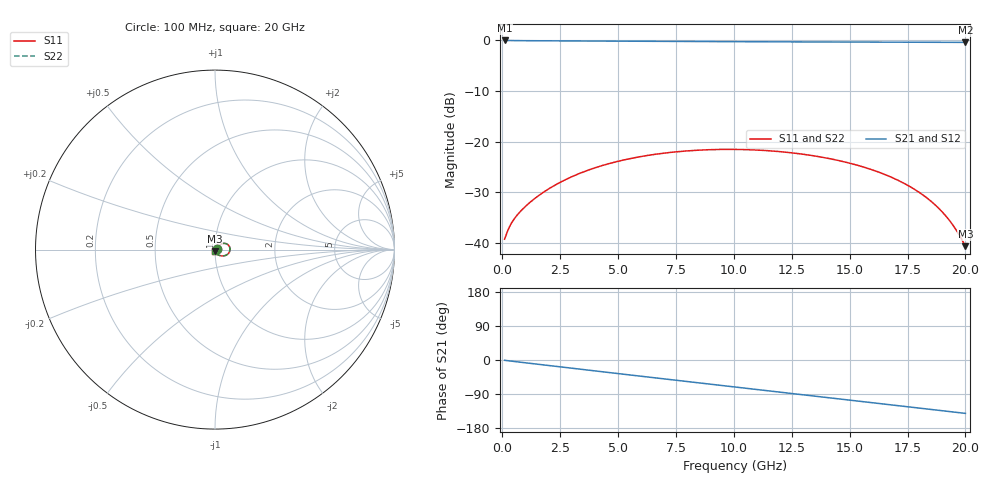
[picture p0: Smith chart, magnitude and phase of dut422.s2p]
! Touchstone file exported from HFSS 2026.1.0
!  File:  C:/ffzhzh/LocalFiles/Ansys_Project_Files/temp_train_TSV_RDL_422_1783096021_46604.aedt
!  Generated:  12:34:44 AM Jul  4, 2026
!  Design:  TSV_RDL
!  Project:  temp_train_TSV_RDL_422_1783096021_46604
! Variables:
!  h_bsmrdl = 4.43um
!  h_ox = 20um
!  h_rdl = 5um
!  h_sub = 53.33um
!  h_tmrdl = 2.78um
!  h_tsv = 53.33um
!  h_via = 3um
!  l_bsmrdl = 233.2um
!  l_sub = 2498.52um
!  l_tmrdl = 312.47um
!  m_sub = 200um
!  pitch = 31.06um
!  r_tsv = 8.77um
!  s_tmrdl = 10um
!  w_bsmrdl = 25.2um
!  w_sub = 500um
!  w_tmrdl = 24.48um
!  x_tsv_center1 = 324.71um
!  x_tsv_center2 = 583.11um
!  x_tsv_center3 = 920.06um
!  x_tsv_center4 = 1178.46um
!  x_tsv_center5 = 1515.41um
!  x_tsv_center6 = 1773.81um
# GHz S MA R 50.000000
! Terminal data exported
! Port[1] = TM_RDL1_1_T1
! Port[2] = TM_RDL5_1_T1
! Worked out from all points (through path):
!   200 points, 100 MHz to 20 GHz, reference 50 ohm
!   highest |S21| = -0.09 dB at 100 MHz (marker M1); lowest = -0.5 dB at 20 GHz (marker M2)
!   group delay of S21, straight-line fit = 19.5 ps
!   lowest |S11| = -40.6 dB at 20 GHz (marker M3), VSWR 1.02, Z = 49.8 - j0.906 ohm
!   |S11| at or under -10 dB: start of sweep to end of sweep
!   |S22| runs from -40.5 to -21.5 dB; largest |S21 - S12| = 7.5e-14
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0.1  0.01096 14.8  0.9894 -0.8  0.9894 -0.8  0.01096 14.8
! Gamma 0 0 0 0
! Port Impedance 50 0 50 0
0.3  0.01436 27.7  0.9875 -2.3  0.9875 -2.3  0.01436 27.7
0.5  0.01717 32.4  0.9861 -3.8  0.9861 -3.8  0.01717 32.4
0.8  0.02075 36.9  0.9847 -6.0  0.9847 -6.0  0.02075 36.9
1.2  0.02528 40.6  0.9833 -8.8  0.9833 -8.8  0.02528 40.6
2.2  0.03643 43.3  0.9807 -16.0  0.9807 -16.0  0.03644 43.3
3.5  0.05029 40.2  0.9774 -25.2  0.9774 -25.2  0.05029 40.2
5  0.06402 32.9  0.9735 -35.9  0.9735 -35.9  0.06402 32.9
6.8  0.07606 22.1  0.9689 -48.5  0.9689 -48.5  0.07606 22.1
8.5  0.08242 11.0  0.9651 -60.5  0.9651 -60.5  0.08242 11.0
10.1  0.08378 0.3  0.9619 -71.6  0.9619 -71.6  0.08378 0.3
11.8  0.08035 -11.4  0.9591 -83.5  0.9591 -83.5  0.08035 -11.4
13.4  0.07277 -22.7  0.9567 -94.7  0.9567 -94.7  0.07276 -22.8
15.2  0.05968 -36.0  0.9544 -107.3  0.9544 -107.3  0.05968 -36.1
16.7  0.04565 -48.0  0.9524 -117.8  0.9524 -117.8  0.04565 -48.1
17.8  0.03395 -58.2  0.9508 -125.5  0.9508 -125.5  0.03395 -58.3
18.3  0.02834 -63.7  0.9501 -129.0  0.9501 -129.0  0.02835 -63.9
18.7  0.02377 -68.8  0.9495 -131.8  0.9495 -131.8  0.02379 -69.1
19.1  0.01917 -75.2  0.9488 -134.6  0.9488 -134.6  0.0192 -75.5
19.4  0.01575 -81.4  0.9483 -136.7  0.9483 -136.7  0.01579 -81.8
19.7  0.01243 -90.0  0.9478 -138.8  0.9478 -138.8  0.01247 -90.5
20  0.009353 -103.3  0.9473 -140.9  0.9473 -140.9  0.00942 -103.8
